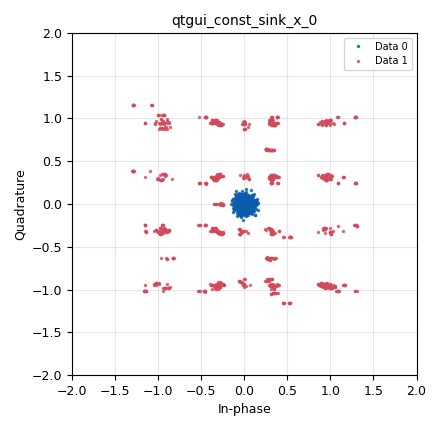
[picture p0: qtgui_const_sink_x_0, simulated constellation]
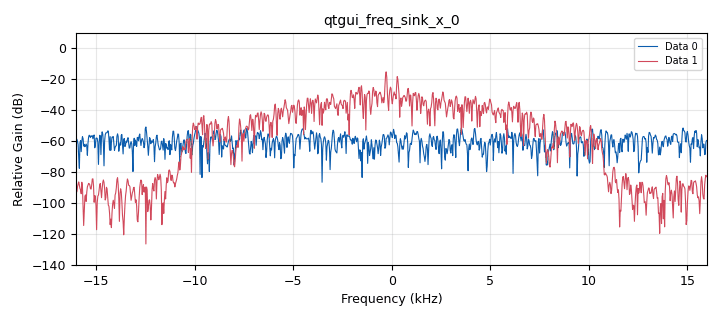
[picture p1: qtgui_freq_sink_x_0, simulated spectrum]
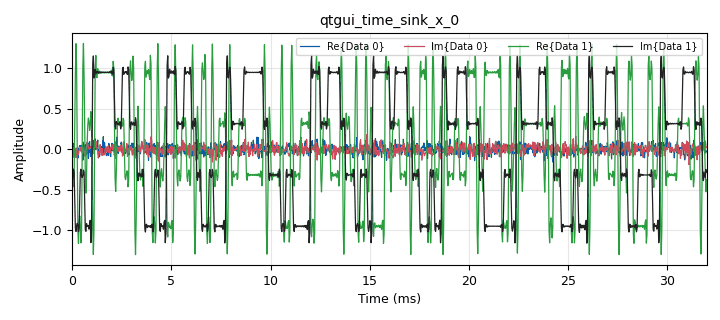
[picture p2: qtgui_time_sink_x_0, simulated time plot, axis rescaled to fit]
<?xml version='1.0' encoding='utf-8'?>
<?grc format='1' created='3.7.13'?>
<flow_graph>
<block>
<key>options</key>
<param><key>id</key><value>top_block</value></param>
<param><key>generate_options</key><value>qt_gui</value></param>
</block>
<block>
<key>variable</key>
<param><key>id</key><value>rrc_taps</value></param>
<param><key>value</key><value>firdes.root_raised_cosine(1,samp_rate,8*samp_rate,2,11)</value></param>
</block>
<block>
<key>variable</key>
<param><key>id</key><value>samp_rate</value></param>
<param><key>value</key><value>32000</value></param>
</block>
<block>
<key>variable_constellation</key>
<param><key>id</key><value>variable_constellation_0</value></param>
<param><key>type</key><value>16qam</value></param>
<param><key>precision</key><value>8</value></param>
</block>
<block>
<key>variable_constellation_rect</key>
<param><key>id</key><value>variable_constellation_rect_0</value></param>
<param><key>const_points</key><value>[1,0.9239 + 0.3827j,0.7071 + 0.7071j,0.3827 + 0.9239j,1j,-0.3827 + 0.9239j,-0.7071 + 0.7071j,-0.9239 + 0.3827j,-1,-0.9239 - 0.3827j,-0.7071 - 0.7071j,-0.3827 - 0.9239j,-1j,0.3827 - 0.9239j,0.7071 - 0.7071j,0.9239 - 0.3827j]</value></param>
<param><key>_enabled</key><value>0</value></param>
<param><key>imag_sect</key><value>2</value></param>
<param><key>real_sect</key><value>2</value></param>
<param><key>rot_sym</key><value>4</value></param>
<param><key>sym_map</key><value>[0, 1,2,3,4,5,6,7,8,9,10,11,12,13,14,15]</value></param>
<param><key>w_imag_sect</key><value>1</value></param>
<param><key>w_real_sect</key><value>1</value></param>
</block>
<block>
<key>analog_noise_source_x</key>
<param><key>id</key><value>analog_noise_source_x_0</value></param>
<param><key>amp</key><value>0.075</value></param>
<param><key>noise_type</key><value>analog.GR_GAUSSIAN</value></param>
<param><key>type</key><value>complex</value></param>
<param><key>seed</key><value>0</value></param>
</block>
<block>
<key>analog_random_source_x</key>
<param><key>id</key><value>analog_random_source_x_0</value></param>
<param><key>max</key><value>2</value></param>
<param><key>min</key><value>0</value></param>
<param><key>num_samps</key><value>1000</value></param>
<param><key>type</key><value>byte</value></param>
<param><key>repeat</key><value>True</value></param>
</block>
<block>
<key>blocks_add_xx</key>
<param><key>id</key><value>blocks_add_xx_0</value></param>
<param><key>type</key><value>complex</value></param>
</block>
<block>
<key>blocks_throttle</key>
<param><key>id</key><value>blocks_throttle_0</value></param>
<param><key>samples_per_second</key><value>samp_rate</value></param>
<param><key>type</key><value>complex</value></param>
</block>
<block>
<key>digital_constellation_modulator</key>
<param><key>id</key><value>digital_constellation_modulator_0</value></param>
<param><key>constellation</key><value>variable_constellation_0</value></param>
<param><key>differential</key><value>True</value></param>
<param><key>excess_bw</key><value>0.35</value></param>
<param><key>samples_per_symbol</key><value>2</value></param>
</block>
<block>
<key>fir_filter_xxx</key>
<param><key>id</key><value>fir_filter_xxx_0</value></param>
<param><key>decim</key><value>1</value></param>
<param><key>taps</key><value>rrc_taps</value></param>
<param><key>type</key><value>ccc</value></param>
</block>
<block>
<key>qtgui_const_sink_x</key>
<param><key>id</key><value>qtgui_const_sink_x_0</value></param>
<param><key>nconnections</key><value>2</value></param>
<param><key>size</key><value>1024</value></param>
<param><key>type</key><value>complex</value></param>
</block>
<block>
<key>qtgui_freq_sink_x</key>
<param><key>id</key><value>qtgui_freq_sink_x_0</value></param>
<param><key>bw</key><value>samp_rate</value></param>
<param><key>fc</key><value>0</value></param>
<param><key>fftsize</key><value>1024</value></param>
<param><key>label2</key><value></value></param>
<param><key>nconnections</key><value>2</value></param>
<param><key>showports</key><value>True</value></param>
<param><key>type</key><value>complex</value></param>
<param><key>wintype</key><value>firdes.WIN_BLACKMAN_hARRIS</value></param>
</block>
<block>
<key>qtgui_sink_x</key>
<param><key>id</key><value>qtgui_sink_x_0</value></param>
<param><key>bw</key><value>samp_rate</value></param>
<param><key>fc</key><value>0</value></param>
<param><key>freqchangevar</key><value>None</value></param>
<param><key>_enabled</key><value>0</value></param>
<param><key>fftsize</key><value>1024</value></param>
<param><key>showports</key><value>True</value></param>
<param><key>type</key><value>complex</value></param>
<param><key>wintype</key><value>firdes.WIN_BLACKMAN_hARRIS</value></param>
</block>
<block>
<key>qtgui_time_sink_x</key>
<param><key>id</key><value>qtgui_time_sink_x_0</value></param>
<param><key>color1</key><value>"blue"</value></param>
<param><key>label1</key><value></value></param>
<param><key>color2</key><value>"red"</value></param>
<param><key>label2</key><value></value></param>
<param><key>color3</key><value>"green"</value></param>
<param><key>label3</key><value></value></param>
<param><key>color4</key><value>"black"</value></param>
<param><key>label4</key><value></value></param>
<param><key>nconnections</key><value>2</value></param>
<param><key>size</key><value>1024</value></param>
<param><key>srate</key><value>samp_rate</value></param>
<param><key>type</key><value>complex</value></param>
</block>
<block>
<key>root_raised_cosine_filter</key>
<param><key>id</key><value>root_raised_cosine_filter_0</value></param>
<param><key>alpha</key><value>0.35</value></param>
<param><key>decim</key><value>1</value></param>
<param><key>type</key><value>fir_filter_ccf</value></param>
<param><key>gain</key><value>1</value></param>
<param><key>ntaps</key><value>11*samp_rate</value></param>
<param><key>samp_rate</key><value>samp_rate</value></param>
<param><key>sym_rate</key><value>1.0</value></param>
</block>
<connection><source_block_id>analog_noise_source_x_0</source_block_id><sink_block_id>blocks_add_xx_0</sink_block_id><source_key>0</source_key><sink_key>1</sink_key></connection>
<connection><source_block_id>analog_random_source_x_0</source_block_id><sink_block_id>digital_constellation_modulator_0</sink_block_id><source_key>0</source_key><sink_key>0</sink_key></connection>
<connection><source_block_id>blocks_add_xx_0</source_block_id><sink_block_id>qtgui_const_sink_x_0</sink_block_id><source_key>0</source_key><sink_key>0</sink_key></connection>
<connection><source_block_id>blocks_add_xx_0</source_block_id><sink_block_id>qtgui_freq_sink_x_0</sink_block_id><source_key>0</source_key><sink_key>0</sink_key></connection>
<connection><source_block_id>blocks_add_xx_0</source_block_id><sink_block_id>qtgui_sink_x_0</sink_block_id><source_key>0</source_key><sink_key>0</sink_key></connection>
<connection><source_block_id>blocks_add_xx_0</source_block_id><sink_block_id>qtgui_time_sink_x_0</sink_block_id><source_key>0</source_key><sink_key>0</sink_key></connection>
<connection><source_block_id>blocks_throttle_0</source_block_id><sink_block_id>fir_filter_xxx_0</sink_block_id><source_key>0</source_key><sink_key>0</sink_key></connection>
<connection><source_block_id>blocks_throttle_0</source_block_id><sink_block_id>root_raised_cosine_filter_0</sink_block_id><source_key>0</source_key><sink_key>0</sink_key></connection>
<connection><source_block_id>digital_constellation_modulator_0</source_block_id><sink_block_id>blocks_throttle_0</sink_block_id><source_key>0</source_key><sink_key>0</sink_key></connection>
<connection><source_block_id>fir_filter_xxx_0</source_block_id><sink_block_id>qtgui_const_sink_x_0</sink_block_id><source_key>0</source_key><sink_key>1</sink_key></connection>
<connection><source_block_id>fir_filter_xxx_0</source_block_id><sink_block_id>qtgui_freq_sink_x_0</sink_block_id><source_key>0</source_key><sink_key>1</sink_key></connection>
<connection><source_block_id>fir_filter_xxx_0</source_block_id><sink_block_id>qtgui_time_sink_x_0</sink_block_id><source_key>0</source_key><sink_key>1</sink_key></connection>
<connection><source_block_id>root_raised_cosine_filter_0</source_block_id><sink_block_id>blocks_add_xx_0</sink_block_id><source_key>0</source_key><sink_key>0</sink_key></connection>
</flow_graph>
